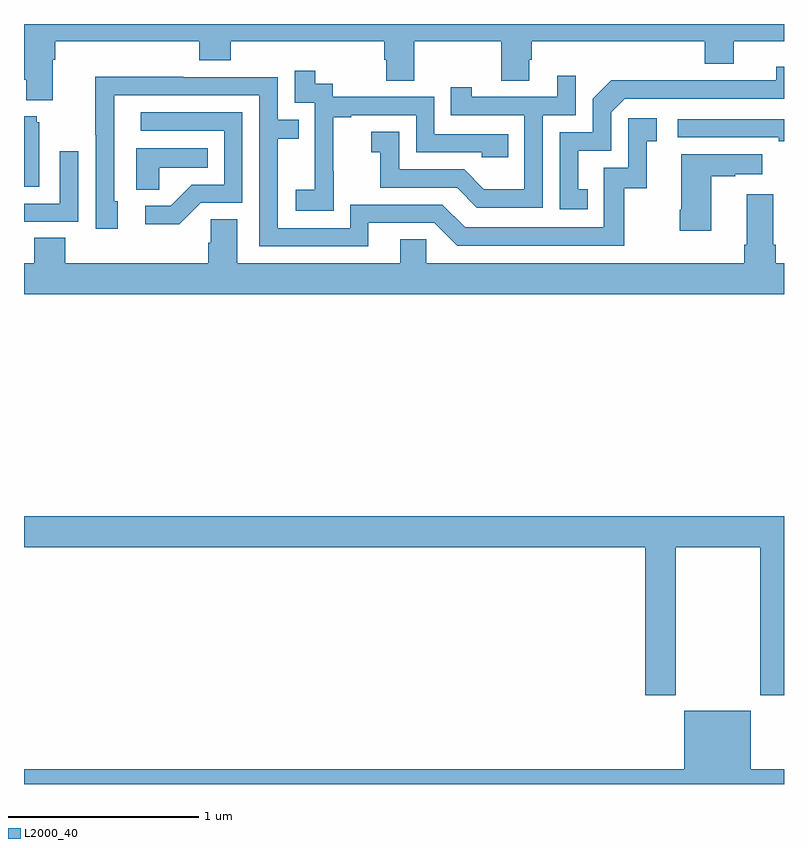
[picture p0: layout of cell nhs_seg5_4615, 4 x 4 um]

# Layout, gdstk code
import gdstk
lib = gdstk.Library(unit=1e-6, precision=1e-09)
def P(c, l, *ps):  # polygons
    for p in ps: c.add(gdstk.Polygon(p, *l))
L2000_40 = (2000, 40)

nhs_seg5_4615 = lib.new_cell('nhs_seg5_4615')
P(nhs_seg5_4615, L2000_40, [(381,908.506),(381.011,908.506),(381.011,908.399),(381.151,908.399),(381.151,908.612),(381.164,908.612),(381.164,908.708),(381.923,908.708),(381.923,908.609),(382.088,908.609),(382.088,908.708),(382.895,908.708),(382.895,908.61),(382.907,908.61),(382.907,908.5),(383.055,908.5),(383.055,908.708),(383.512,908.708),(383.512,908.5),(383.659,908.5),(383.659,908.61),(383.672,908.61),(383.672,908.708),(384.584,908.708),(384.584,908.591),(384.736,908.591),(384.736,908.708),(385,908.708),(385,908.799),(381,908.799)],
  [(383.966,907.929),(383.917,907.929),(383.917,908.133),(384.09,908.133),(384.09,908.334),(384.162,908.406),(385,908.406),(385,908.575),(384.96,908.575),(384.96,908.502),(384.5,908.502),(384.5,908.504),(384.092,908.504),(383.994,908.406),(383.994,908.229),(383.82,908.229),(383.82,907.824),(383.966,907.824)],
  [(382.629,908.023),(382.628,908.023),(382.628,908.307),(382.723,908.307),(382.723,908.319),(383.064,908.319),(383.064,908.124),(383.409,908.124),(383.409,908.097),(383.549,908.097),(383.549,908.22),(383.16,908.22),(383.16,908.415),(382.626,908.415),(382.626,908.484),(382.534,908.484),(382.534,908.554),(382.425,908.554),(382.425,908.385),(382.53,908.385),(382.53,908.156),(382.529,908.156),(382.529,907.927),(382.431,907.927),(382.431,907.817),(382.629,907.817)],
  [(383.73,908.319),(383.904,908.319),(383.904,908.527),(383.807,908.527),(383.807,908.415),(383.356,908.415),(383.356,908.467),(383.245,908.467),(383.245,908.319),(383.634,908.319),(383.634,907.93),(383.42,907.93),(383.316,908.034),(382.974,908.034),(382.974,908.233),(382.827,908.233),(382.827,908.123),(382.876,908.123),(382.876,907.938),(383.279,907.938),(383.384,907.833),(383.73,907.833)],
  [(382.813,907.752),(383.16,907.752),(383.28,907.632),(384.16,907.632),(384.16,907.935),(384.278,907.935),(384.278,908.181),(384.331,908.181),(384.331,908.302),(384.18,908.302),(384.18,908.043),(384.051,908.043),(384.051,907.728),(383.322,907.728),(383.202,907.848),(382.716,907.848),(382.716,907.725),(382.335,907.725),(382.335,908.194),(382.445,908.194),(382.445,908.295),(382.335,908.295),(382.335,908.52),(381.839,908.52),(381.839,908.522),(381.376,908.522),(381.376,908.215),(381.378,908.215),(381.378,907.722),(381.493,907.722),(381.493,907.866),(381.474,907.866),(381.474,908.424),(382.239,908.424),(382.239,907.629),(382.813,907.629)],
  [(381.93,907.857),(382.149,907.857),(382.149,908.334),(381.615,908.334),(381.615,908.238),(382.053,908.238),(382.053,907.953),(381.884,907.953),(381.773,907.842),(381.639,907.842),(381.639,907.745),(381.817,907.745)],
  [(381.079,908.283),(381.068,908.283),(381.068,908.314),(381,908.314),(381,907.943),(381.079,907.943)],
  [(385,908.298),(384.441,908.298),(384.441,908.202),(384.973,908.202),(384.973,908.182),(385,908.182)],
  [(381.711,908.042),(381.968,908.042),(381.968,908.146),(381.59,908.146),(381.59,907.927),(381.711,907.927)],
  [(381.285,908.128),(381.189,908.128),(381.189,907.854),(381,907.854),(381,907.758),(381.285,907.758)],
  [(384.616,907.999),(384.743,907.999),(384.743,908.009),(384.886,908.009),(384.886,908.113),(384.458,908.113),(384.458,907.822),(384.451,907.822),(384.451,907.71),(384.616,907.71)],
  [(385,907.54),(384.956,907.54),(384.956,907.636),(384.943,907.636),(384.943,907.903),(384.803,907.903),(384.803,907.636),(384.791,907.636),(384.791,907.54),(383.118,907.54),(383.118,907.667),(382.979,907.667),(382.979,907.54),(382.123,907.54),(382.123,907.772),(381.984,907.772),(381.984,907.649),(381.971,907.649),(381.971,907.54),(381.218,907.54),(381.218,907.673),(381.053,907.673),(381.053,907.54),(381,907.54),(381,907.376),(385,907.376)],
  [(384.429,906.044),(384.874,906.044),(384.874,905.265),(385,905.265),(385,906.208),(381,906.208),(381,906.044),(384.269,906.044),(384.269,905.265),(384.429,905.265)],
  [(385,904.876),(384.826,904.876),(384.826,905.185),(384.476,905.185),(384.476,904.876),(381,904.876),(381,904.799),(385,904.799)])

lib.write_gds('nhs_seg5_4615.gds')
